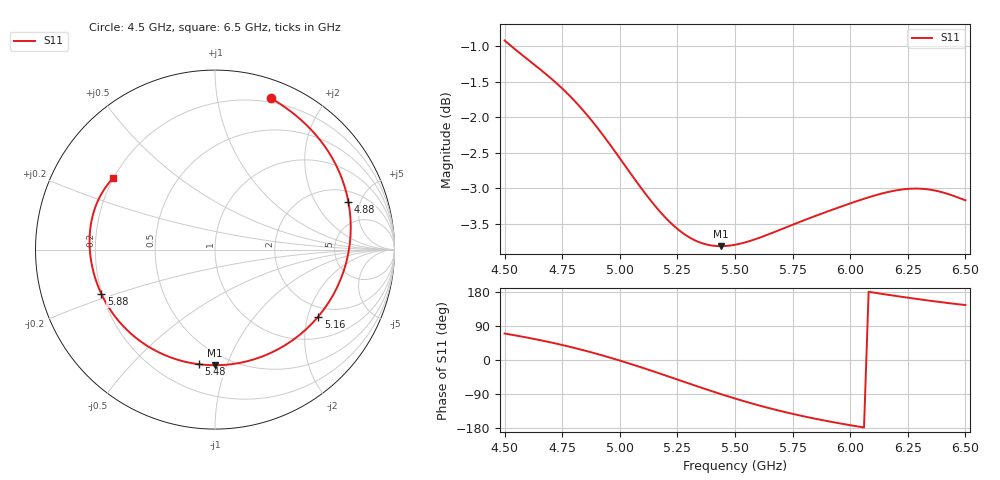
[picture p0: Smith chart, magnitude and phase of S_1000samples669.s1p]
! TOUCHSTONE file generated by CST MICROWAVE STUDIO
! Date and time: Fri Oct 28 23:28:55 2022
! Project name: L.cst
! Parameters = {Di=1.27; Epsilon_r=1.56; InnerDiameter=1.27; Length=2; Lf=10; Lg=60; OuterConductorThickness=0.2921; OuterDiameter=3.6; Wf=3; Wp=41.2; de=1.5; df=6.8; g=0.8; gx=4.17663; gy=0.818835; h=2.34; hf=1.524; px=12.7259; py=8.28779; w=9.7; wx=8.5493; wy=7.46895}
! Header version: 2018
! Port assignment regex: !\s*Touchstone port\s*([0-9]+)\s*=\s*(CST MWS port|CST DS port)\s*([0-9]+|Zmin|Zmax)\s*\(\"(.*)\"\)(\s*mode\s*([0-9]+))?.*
! Touchstone port assignment:
! Touchstone port 1 = CST MWS port 1 ("")
# GHz S DB R 50
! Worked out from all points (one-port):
!   101 points, 4.5 GHz to 6.5 GHz, reference 50 ohm
!   lowest |S11| = -3.8 dB at 5.44 GHz (marker M1), VSWR 4.62, Z = 20.6 - j45.4 ohm
!   |S11| at or under -10 dB: nowhere
!   S11 on the Smith chart (normalised r, x): 4.5 GHz: 0.16, +1.42; 4.88 GHz: 2.78, +3.90; 5.16 GHz: 1.66, -2.34; 5.48 GHz: 0.37, -0.80; 5.88 GHz: 0.20, -0.18; 6.5 GHz: 0.20, +0.30
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4.5  -0.92 69.9
4.58  -1.13 61.2
4.64  -1.29 54.1
4.7  -1.45 46.5
4.76  -1.63 38.2
4.82  -1.83 29.2
4.88  -2.06 19.6
4.94  -2.31 9.3
5  -2.58 -1.5
5.08  -2.94 -16.9
5.16  -3.28 -32.9
5.22  -3.49 -45.3
5.26  -3.60 -53.6
5.34  -3.75 -70.2
5.38  -3.80 -78.3
5.44  -3.82 -90.2
5.48  -3.81 -97.8
5.5  -3.80 -101.5
5.56  -3.75 -112.3
5.64  -3.66 -125.7
5.7  -3.58 -134.9
5.76  -3.50 -143.5
5.88  -3.35 -158.8
6  -3.21 -172.0
6.12  -3.09 176.2
6.26  -3.01 163.6
6.38  -3.04 153.8
6.5  -3.17 145.0
